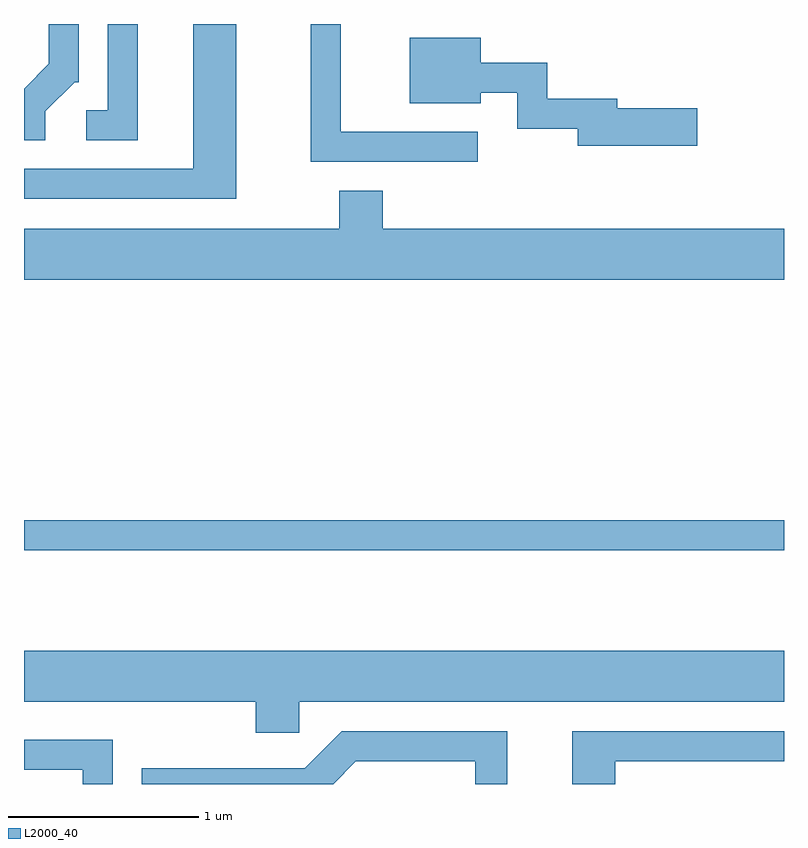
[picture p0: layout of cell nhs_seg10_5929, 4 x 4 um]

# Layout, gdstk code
import gdstk
lib = gdstk.Library(unit=1e-6, precision=1e-09)
def R(c, l, rs):  # rectangles x0, y0, x1, y1
    for r in rs: c.add(gdstk.rectangle(r[:2], r[2:], *l))
def P(c, l, *ps):  # polygons
    for p in ps: c.add(gdstk.Polygon(p, *l))
L2000_40 = (2000, 40)

nhs_seg10_5929 = lib.new_cell('nhs_seg10_5929')
R(nhs_seg10_5929, L2000_40, [(359.611,2185.751,363.611,2185.909)])
P(nhs_seg10_5929, L2000_40, [(359.724,2188.064),(359.877,2188.216),(359.899,2188.216),(359.899,2188.522),(359.741,2188.522),(359.741,2188.312),(359.611,2188.182),(359.611,2187.911),(359.724,2187.911)],
  [(360.209,2188.522),(360.051,2188.522),(360.051,2188.069),(359.938,2188.069),(359.938,2187.911),(360.209,2187.911)],
  [(361.998,2187.954),(361.279,2187.954),(361.279,2188.522),(361.121,2188.522),(361.121,2187.796),(361.998,2187.796)],
  [(360.729,2188.522),(360.501,2188.522),(360.501,2187.759),(359.611,2187.759),(359.611,2187.601),(360.729,2187.601)],
  [(363.154,2188.079),(362.734,2188.079),(362.734,2188.129),(362.364,2188.129),(362.364,2188.319),(362.014,2188.319),(362.014,2188.449),(361.641,2188.449),(361.641,2188.106),(362.014,2188.106),(362.014,2188.161),(362.206,2188.161),(362.206,2187.971),(362.526,2187.971),(362.526,2187.881),(363.154,2187.881)],
  [(363.611,2187.444),(361.499,2187.444),(361.499,2187.644),(361.271,2187.644),(361.271,2187.444),(359.611,2187.444),(359.611,2187.176),(363.611,2187.176)],
  [(361.059,2184.956),(363.611,2184.956),(363.611,2185.224),(359.611,2185.224),(359.611,2184.956),(360.831,2184.956),(360.831,2184.791),(361.059,2184.791)],
  [(361.357,2184.641),(361.986,2184.641),(361.986,2184.522),(362.154,2184.522),(362.154,2184.799),(361.284,2184.799),(361.089,2184.604),(360.231,2184.604),(360.231,2184.522),(361.238,2184.522)],
  [(362.724,2184.641),(363.611,2184.641),(363.611,2184.799),(362.496,2184.799),(362.496,2184.522),(362.724,2184.522)],
  [(360.079,2184.754),(359.611,2184.754),(359.611,2184.596),(359.921,2184.596),(359.921,2184.522),(360.079,2184.522)])

lib.write_gds('nhs_seg10_5929.gds')
